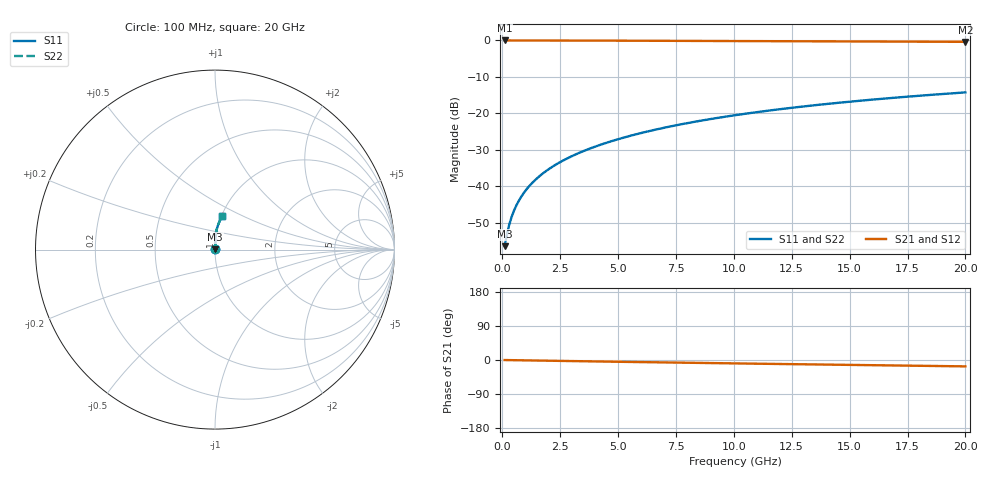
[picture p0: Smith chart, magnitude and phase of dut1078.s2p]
! Touchstone file exported from HFSS 2024.1.0
!  File:  C:/UserFiles/LocalFiles/RDL_TSV_Batchsim/temp_RDL_top_1078_1780045473.aedt
!  Generated:  05:07:12 PM May 29, 2026
!  Design:  RDL_top
!  Project:  temp_RDL_top_1078_1780045473
!  Setup:  Setup1
!  Solution:  Sweep
! Variables:
!  dtsv = 10.80580581um
!  hbump = 3um
!  htsv = 96.72um
!  ldown = 100um
!  lrdl = 185.87um
!  p = 40
!  p1 = 56.93um
!  rhole = 1um
!  t = 450um
!  tdown = 3.915915916um
!  trdl = 2.98um
!  wdown = 15.38538539um
!  wrdl = 23.93um
# GHz S MA R 50.000000
! Terminal data exported
! Port[1] = Box2_T1
! Port[2] = Box2_T2
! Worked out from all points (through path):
!   200 points, 100 MHz to 20 GHz, reference 50 ohm
!   highest |S21| = -0.01 dB at 100 MHz (marker M1); lowest = -0.4 dB at 20 GHz (marker M2)
!   group delay of S21, straight-line fit = 2.31 ps
!   lowest |S11| = -56.4 dB at 100 MHz (marker M3), VSWR 1.00, Z = 50.1 + j0.0918 ohm
!   |S11| at or under -10 dB: start of sweep to end of sweep
!   |S22| runs from -56.4 to -14.3 dB; largest |S21 - S12| = 6.1e-15
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0.1  0.001511 37.3  0.9988 -0.1  0.9988 -0.1  0.001511 37.3
! Gamma 0 0 0 0
! Port Impedance 50 0 50 0
0.2  0.002198 55.6  0.9987 -0.2  0.9987 -0.2  0.002198 55.6
0.3  0.002981 64.4  0.9987 -0.3  0.9987 -0.3  0.002981 64.4
0.4  0.003785 69.5  0.9986 -0.4  0.9986 -0.4  0.003785 69.5
0.5  0.004595 72.8  0.9985 -0.5  0.9985 -0.5  0.004595 72.8
0.6  0.005408 75.2  0.9985 -0.6  0.9985 -0.6  0.005408 75.2
0.8  0.007043 78.5  0.9984 -0.8  0.9984 -0.8  0.007043 78.5
1.1  0.009523 81.6  0.9982 -1.1  0.9982 -1.1  0.009523 81.6
1.5  0.01288 84.0  0.9978 -1.4  0.9978 -1.4  0.01288 84.0
1.8  0.01543 85.2  0.9975 -1.7  0.9975 -1.7  0.01543 85.2
2.1  0.018 86.1  0.9972 -2.0  0.9972 -2.0  0.018 86.1
2.7  0.02322 87.3  0.9964 -2.6  0.9964 -2.6  0.02322 87.3
3.5  0.03036 88.3  0.9951 -3.3  0.9951 -3.3  0.03036 88.3
4.2  0.03675 88.7  0.9938 -4.0  0.9938 -4.0  0.03675 88.7
5  0.04424 88.9  0.9922 -4.7  0.9922 -4.7  0.04424 88.9
5.9  0.05285 88.9  0.9902 -5.5  0.9902 -5.5  0.05286 88.9
6.8  0.06165 88.6  0.9881 -6.3  0.9881 -6.3  0.06165 88.6
8.4  0.07761 87.8  0.9843 -7.6  0.9843 -7.6  0.07761 87.8
10.1  0.09483 86.6  0.9803 -9.0  0.9803 -9.0  0.09483 86.6
13.4  0.1284 83.8  0.9724 -11.7  0.9724 -11.7  0.1284 83.8
16.7  0.1615 80.8  0.9645 -14.3  0.9645 -14.3  0.1615 80.8
20  0.1938 77.8  0.9563 -16.8  0.9563 -16.8  0.1938 77.8
